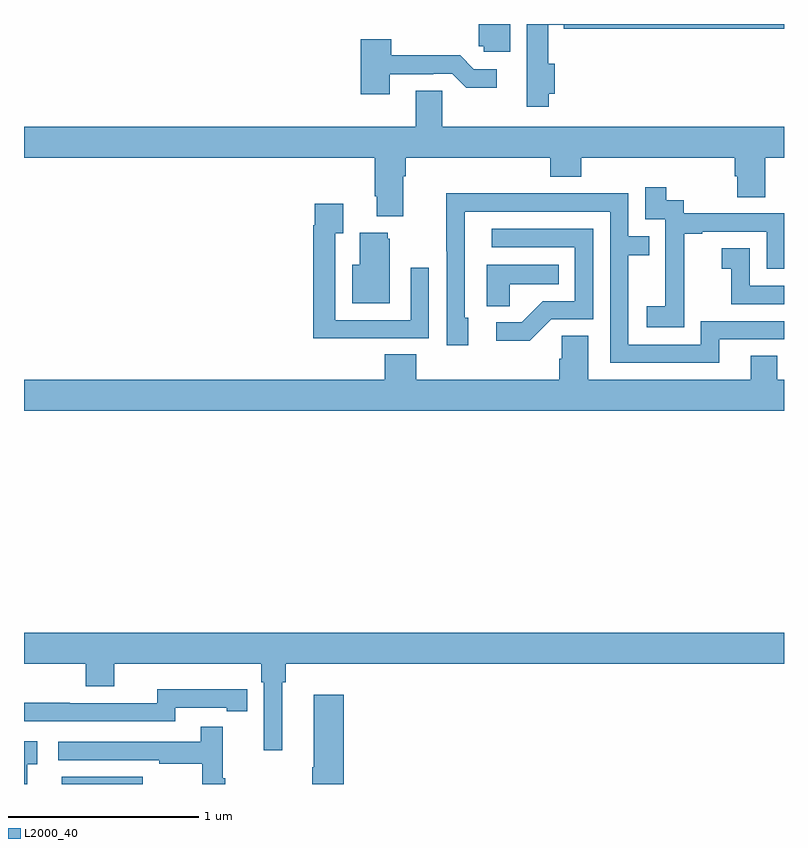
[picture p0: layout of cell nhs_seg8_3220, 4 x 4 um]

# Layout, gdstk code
import gdstk
lib = gdstk.Library(unit=1e-6, precision=1e-09)
def R(c, l, rs):  # rectangles x0, y0, x1, y1
    for r in rs: c.add(gdstk.rectangle(r[:2], r[2:], *l))
def P(c, l, *ps):  # polygons
    for p in ps: c.add(gdstk.Polygon(p, *l))
L2000_40 = (2000, 40)

nhs_seg8_3220 = lib.new_cell('nhs_seg8_3220')
R(nhs_seg8_3220, L2000_40, [(311.198,1083.9,311.626,1083.937)])
P(nhs_seg8_3220, L2000_40, [(313.558,1087.9),(313.394,1087.9),(313.394,1087.782),(313.419,1087.782),(313.419,1087.755),(313.558,1087.755)],
  [(313.763,1087.532),(313.793,1087.532),(313.793,1087.69),(313.759,1087.69),(313.759,1087.895),(313.84,1087.895),(313.84,1087.876),(315,1087.876),(315,1087.9),(313.647,1087.9),(313.647,1087.686),(313.646,1087.686),(313.646,1087.464),(313.763,1087.464)],
  [(312.925,1087.635),(313.154,1087.635),(313.154,1087.638),(313.254,1087.638),(313.327,1087.565),(313.489,1087.565),(313.489,1087.662),(313.368,1087.662),(313.295,1087.735),(312.933,1087.735),(312.933,1087.819),(312.773,1087.819),(312.773,1087.53),(312.925,1087.53)],
  [(312.997,1087.1),(313.01,1087.1),(313.01,1087.196),(313.769,1087.196),(313.769,1087.097),(313.934,1087.097),(313.934,1087.196),(314.741,1087.196),(314.741,1087.098),(314.753,1087.098),(314.753,1086.988),(314.901,1086.988),(314.901,1087.196),(315,1087.196),(315,1087.36),(313.2,1087.36),(313.2,1087.55),(313.061,1087.55),(313.061,1087.36),(311,1087.36),(311,1087.196),(312.845,1087.196),(312.845,1086.994),(312.857,1086.994),(312.857,1086.887),(312.997,1086.887)],
  [(314.475,1086.511),(314.474,1086.511),(314.474,1086.795),(314.569,1086.795),(314.569,1086.807),(314.91,1086.807),(314.91,1086.612),(315,1086.612),(315,1086.903),(314.472,1086.903),(314.472,1086.972),(314.38,1086.972),(314.38,1087.042),(314.271,1087.042),(314.271,1086.873),(314.376,1086.873),(314.376,1086.644),(314.375,1086.644),(314.375,1086.415),(314.277,1086.415),(314.277,1086.305),(314.475,1086.305)],
  [(314.659,1086.24),(315,1086.24),(315,1086.336),(314.562,1086.336),(314.562,1086.213),(314.181,1086.213),(314.181,1086.682),(314.291,1086.682),(314.291,1086.783),(314.181,1086.783),(314.181,1087.008),(313.685,1087.008),(313.685,1087.01),(313.222,1087.01),(313.222,1086.703),(313.224,1086.703),(313.224,1086.21),(313.339,1086.21),(313.339,1086.354),(313.32,1086.354),(313.32,1086.912),(314.085,1086.912),(314.085,1086.117),(314.659,1086.117)],
  [(312.815,1086.246),(313.131,1086.246),(313.131,1086.616),(313.035,1086.616),(313.035,1086.342),(312.639,1086.342),(312.639,1086.799),(312.679,1086.799),(312.679,1086.955),(312.531,1086.955),(312.531,1086.842),(312.523,1086.842),(312.523,1086.245),(312.815,1086.245)],
  [(313.776,1086.345),(313.995,1086.345),(313.995,1086.822),(313.461,1086.822),(313.461,1086.726),(313.899,1086.726),(313.899,1086.441),(313.73,1086.441),(313.619,1086.33),(313.485,1086.33),(313.485,1086.233),(313.663,1086.233)],
  [(312.925,1086.771),(312.914,1086.771),(312.914,1086.802),(312.767,1086.802),(312.767,1086.634),(312.728,1086.634),(312.728,1086.431),(312.925,1086.431)],
  [(315,1086.522),(314.82,1086.522),(314.82,1086.721),(314.673,1086.721),(314.673,1086.611),(314.722,1086.611),(314.722,1086.426),(315,1086.426)],
  [(313.557,1086.53),(313.814,1086.53),(313.814,1086.634),(313.436,1086.634),(313.436,1086.415),(313.557,1086.415)],
  [(315,1086.028),(314.964,1086.028),(314.964,1086.155),(314.825,1086.155),(314.825,1086.028),(313.969,1086.028),(313.969,1086.26),(313.83,1086.26),(313.83,1086.137),(313.817,1086.137),(313.817,1086.028),(313.064,1086.028),(313.064,1086.161),(312.899,1086.161),(312.899,1086.028),(311,1086.028),(311,1085.864),(315,1085.864)],
  [(312.358,1084.436),(312.377,1084.436),(312.377,1084.532),(315,1084.532),(315,1084.696),(311,1084.696),(311,1084.532),(311.324,1084.532),(311.324,1084.415),(311.476,1084.415),(311.476,1084.532),(312.248,1084.532),(312.248,1084.436),(312.261,1084.436),(312.261,1084.077),(312.358,1084.077)],
  [(311.796,1084.302),(312.068,1084.302),(312.068,1084.282),(312.176,1084.282),(312.176,1084.398),(312.068,1084.398),(312.068,1084.399),(311.7,1084.399),(311.7,1084.326),(311.24,1084.326),(311.24,1084.328),(311,1084.328),(311,1084.23),(311.796,1084.23)],
  [(312.683,1084.369),(312.524,1084.369),(312.524,1083.989),(312.517,1083.989),(312.517,1083.9),(312.683,1083.9)],
  [(312.058,1083.929),(312.047,1083.929),(312.047,1084.201),(311.929,1084.201),(311.929,1084.122),(311.181,1084.122),(311.181,1084.026),(311.713,1084.026),(311.713,1084.006),(311.937,1084.006),(311.937,1083.9),(312.058,1083.9)],
  [(311.018,1084.005),(311.071,1084.005),(311.071,1084.126),(311,1084.126),(311,1083.9),(311.018,1083.9)])

lib.write_gds('nhs_seg8_3220.gds')
